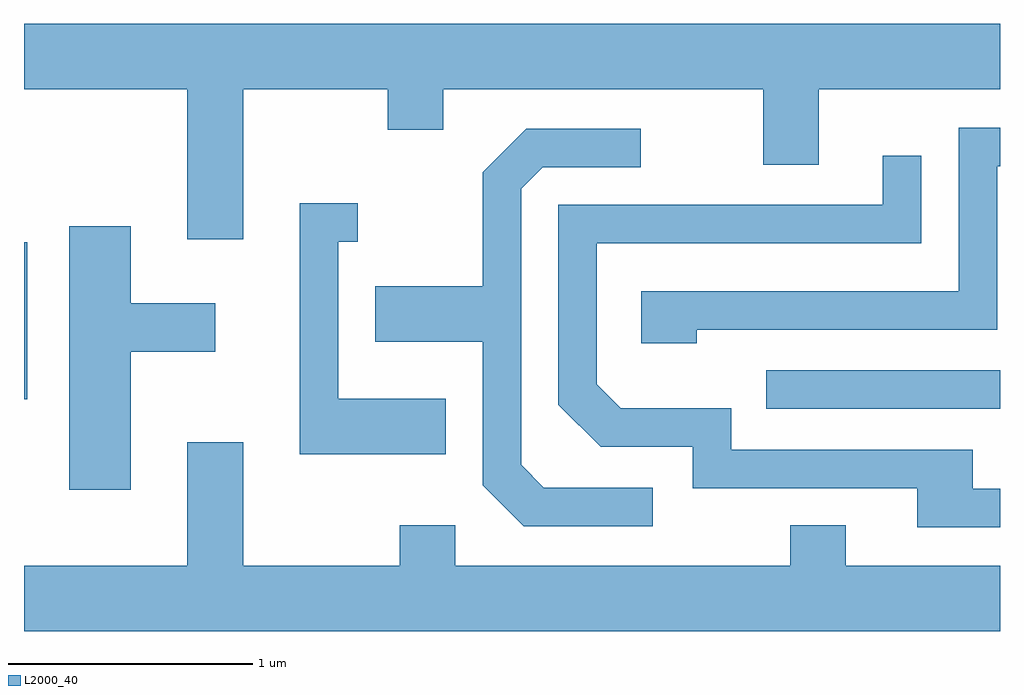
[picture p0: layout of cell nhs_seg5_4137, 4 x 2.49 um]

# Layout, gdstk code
import gdstk
lib = gdstk.Library(unit=1e-6, precision=1e-09)
def R(c, l, rs):  # rectangles x0, y0, x1, y1
    for r in rs: c.add(gdstk.rectangle(r[:2], r[2:], *l))
def P(c, l, *ps):  # polygons
    for p in ps: c.add(gdstk.Polygon(p, *l))
L2000_40 = (2000, 40)

nhs_seg5_4137 = lib.new_cell('nhs_seg5_4137')
R(nhs_seg5_4137, L2000_40, [(310.653,1473.246,311.611,1473.404), (307.611,1473.286,307.624,1473.929)])
P(nhs_seg5_4137, L2000_40, [(308.509,1474.556),(309.101,1474.556),(309.101,1474.391),(309.329,1474.391),(309.329,1474.556),(310.641,1474.556),(310.641,1474.246),(310.869,1474.246),(310.869,1474.556),(311.611,1474.556),(311.611,1474.824),(307.611,1474.824),(307.611,1474.556),(308.281,1474.556),(308.281,1473.941),(308.509,1473.941)],
  [(310.369,1473.571),(311.599,1473.571),(311.599,1474.241),(311.611,1474.241),(311.611,1474.399),(311.441,1474.399),(311.441,1473.729),(310.141,1473.729),(310.141,1473.516),(310.369,1473.516)],
  [(310.188,1472.924),(309.742,1472.924),(309.649,1473.017),(309.649,1474.149),(309.737,1474.236),(310.138,1474.236),(310.138,1474.394),(309.669,1474.394),(309.491,1474.217),(309.491,1473.749),(309.051,1473.749),(309.051,1473.521),(309.491,1473.521),(309.491,1472.934),(309.659,1472.766),(310.188,1472.766)],
  [(311.611,1472.919),(311.499,1472.919),(311.499,1473.079),(310.509,1473.079),(310.509,1473.249),(310.057,1473.249),(309.959,1473.347),(309.959,1473.926),(311.289,1473.926),(311.289,1474.283),(311.131,1474.283),(311.131,1474.084),(309.801,1474.084),(309.801,1473.264),(309.974,1473.091),(310.351,1473.091),(310.351,1472.921),(311.271,1472.921),(311.271,1472.761),(311.611,1472.761)],
  [(309.339,1473.289),(308.899,1473.289),(308.899,1473.931),(308.978,1473.931),(308.978,1474.089),(308.741,1474.089),(308.741,1473.061),(309.339,1473.061)],
  [(308.049,1473.481),(308.394,1473.481),(308.394,1473.679),(308.049,1473.679),(308.049,1473.994),(307.796,1473.994),(307.796,1472.916),(308.049,1472.916)],
  [(311.611,1472.604),(310.979,1472.604),(310.979,1472.769),(310.751,1472.769),(310.751,1472.604),(309.379,1472.604),(309.379,1472.769),(309.151,1472.769),(309.151,1472.604),(308.509,1472.604),(308.509,1473.109),(308.281,1473.109),(308.281,1472.604),(307.611,1472.604),(307.611,1472.336),(311.611,1472.336)])

lib.write_gds('nhs_seg5_4137.gds')
